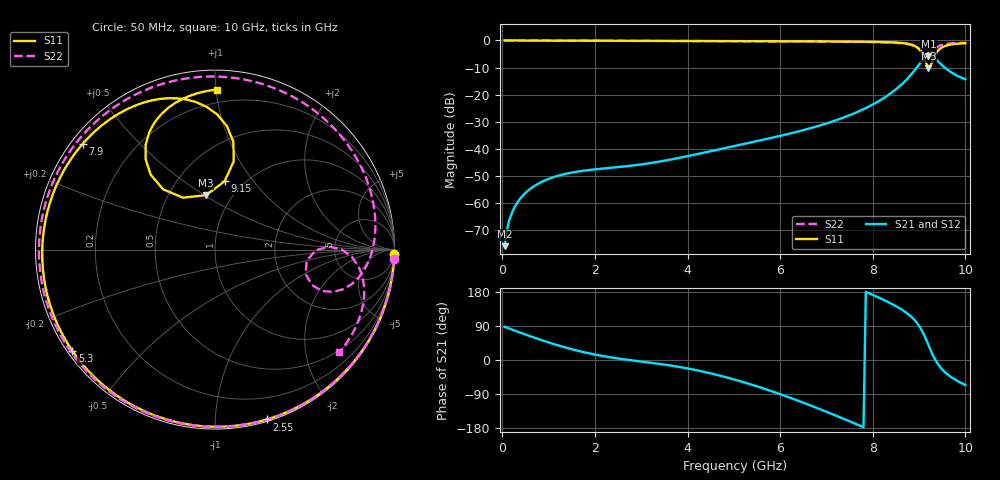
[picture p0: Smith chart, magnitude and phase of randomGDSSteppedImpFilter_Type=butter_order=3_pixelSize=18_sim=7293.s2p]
! freq	dB(S11)	phase(S11)	dB(S12)	phase(S12)
!  dB(S21)	phase(S21)	dB(S22)	phase(S22)
!S-par simulation data
#  GHz  S  DB  R 50
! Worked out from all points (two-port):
!   200 points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, 50 MHz to 10 GHz, reference 50 ohm
!   highest |S21| = -5.74 dB at 9.2 GHz (marker M1); lowest = -75.9 dB at 50 MHz (marker M2)
!   |S21| within 3 dB of the highest: 9.007 GHz to 9.47 GHz (462.7 MHz wide, 5.01 % of centre)
!   lowest |S11| = -10.2 dB at 9.2 GHz (marker M3), VSWR 1.89, Z = 37.8 + j25.3 ohm
!   |S11| at or under -10 dB: 9.193621 GHz to 9.21407 GHz (20.45 MHz wide, 0.222 % of centre)
!   |S22| runs from -5.8 to 0.0 dB; largest |S21 - S12| = 0
!   S11 on the Smith chart (normalised r, x): 50 MHz: 0, -77; 2.55 GHz: 0.01, -1.35; 5.3 GHz: 0.01, -0.32; 7.9 GHz: 0.03, +0.35; 9.15 GHz: 0.82, +0.73; 10 GHz: 0.12, +1.01
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0.05  -0.00 -1.5  -75.94 87.6  -75.94 87.6  -0.00 -3.2
0.1  -0.00 -3.0  -69.93 85.3  -69.93 85.3  -0.01 -6.3
0.2  -0.01 -6.0  -63.96 80.7  -63.96 80.7  -0.02 -12.5
0.5  -0.02 -14.8  -56.28 67.2  -56.28 67.2  -0.04 -30.8
1.1  -0.04 -32.3  -50.48 42.5  -50.48 42.5  -0.08 -65.4
1.75  -0.06 -50.9  -48.09 20.9  -48.09 20.9  -0.10 -98.3
2.55  -0.09 -73.0  -46.66 3.1  -46.66 3.1  -0.13 -132.7
3.4  -0.12 -95.7  -44.70 -10.4  -44.70 -10.4  -0.15 -164.1
4.2  -0.16 -116.4  -41.99 -27.1  -41.99 -27.1  -0.18 169.0
5.05  -0.21 -138.2  -38.84 -52.9  -38.84 -52.9  -0.22 141.2
5.3  -0.22 -144.6  -37.91 -61.9  -37.91 -61.9  -0.23 132.9
6.7  -0.34 178.1  -32.17 -122.0  -32.17 -122.0  -0.33 83.9
7.9  -0.50 141.4  -24.53 177.2  -24.53 177.2  -0.53 36.0
8.35  -0.66 124.4  -19.97 151.7  -19.97 151.7  -0.74 15.7
8.85  -1.63 97.3  -12.15 112.1  -12.15 112.1  -1.78 -11.1
9.05  -4.30 80.3  -7.82 80.2  -7.82 80.2  -3.86 -21.1
9.15  -8.31 82.0  -6.11 54.9  -6.11 54.9  -5.63 -15.1
9.2  -10.25 99.5  -5.74 40.3  -5.74 40.3  -5.77 -7.0
9.35  -5.20 130.7  -6.85 0.4  -6.85 0.4  -3.03 0.1
9.45  -3.09 123.4  -8.43 -18.0  -8.43 -18.0  -1.89 -6.5
9.7  -1.45 105.3  -11.83 -45.8  -11.83 -45.8  -1.04 -23.3
10  -1.00 89.2  -14.33 -66.1  -14.33 -66.1  -0.93 -39.6
